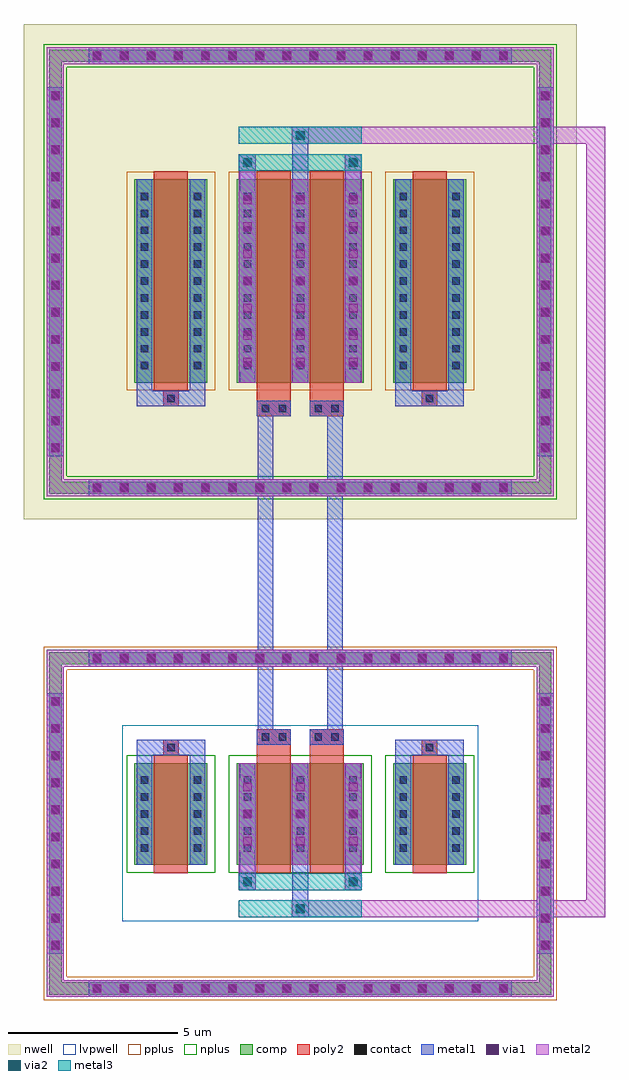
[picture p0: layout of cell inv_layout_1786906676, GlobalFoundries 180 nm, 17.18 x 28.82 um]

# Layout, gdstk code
from math import pi, radians
import gdstk
lib = gdstk.Library(unit=1e-6, precision=5e-09)
def R(c, l, rs):  # rectangles x0, y0, x1, y1
    for r in rs: c.add(gdstk.rectangle(r[:2], r[2:], *l))
def A(c, l, x, y, w, h, nx, ny, dx, dy):  # array of equal rectangles
    R(c, l, [(x+i*dx, y+j*dy, x+i*dx+w, y+j*dy+h) for i in range(nx) for j in range(ny)])
def P(c, l, *ps):  # polygons
    for p in ps: c.add(gdstk.Polygon(p, *l))
nwell = (21, 0)
comp = (22, 0)
poly2 = (30, 0)
pplus = (31, 0)
nplus = (32, 0)
contact = (33, 0)
metal1 = (34, 0)
via1 = (35, 0)
metal2 = (36, 0)
via2 = (38, 0)
metal3 = (42, 0)
lvpwell = (204, 0)

unnamed_a4aa46a9 = lib.new_cell('Unnamed_a4aa46a9')
R(unnamed_a4aa46a9, nwell, [(-2.96,-4.395,2.96,4.395)])
R(unnamed_a4aa46a9, comp, [(-2.61,-3.275,-0.45,2.725), (0.41,-3.275,2.61,2.725)])
R(unnamed_a4aa46a9, poly2, [(1.01,-4.275,2.01,-3.815), (1.08,-4.225,1.44,-3.865), (1.58,-4.225,1.94,-3.865), (-1.76,-3.975,-1.3,-3.515), (-1.71,-3.925,-1.35,-3.565), (1.01,-3.815,2.01,-3.515), (-2.03,-3.515,-1.03,2.965), (1.01,-3.515,2.01,2.965)])
R(unnamed_a4aa46a9, pplus, [(-2.84,-3.505,-0.22,2.955), (0.18,-3.505,2.84,2.955)])
A(unnamed_a4aa46a9, contact, -2.42, -2.885, 0.22, 0.22, 1, 11, 0, 0.5)
A(unnamed_a4aa46a9, contact, -0.86, -2.885, 0.22, 0.22, 1, 11, 0, 0.5)
A(unnamed_a4aa46a9, contact, 0.62, -2.885, 0.22, 0.22, 1, 11, 0, 0.5)
A(unnamed_a4aa46a9, contact, 2.18, -2.885, 0.22, 0.22, 1, 11, 0, 0.5)
R(unnamed_a4aa46a9, contact, [(1.15,-4.155,1.37,-3.935), (1.65,-4.155,1.87,-3.935), (-1.64,-3.855,-1.42,-3.635)])
A(unnamed_a4aa46a9, metal1, -2.54, -3.005, 0.46, 0.46, 1, 11, 0, 0.5)
A(unnamed_a4aa46a9, metal1, -0.98, -3.005, 0.46, 0.46, 1, 11, 0, 0.5)
A(unnamed_a4aa46a9, metal1, 0.5, -3.005, 0.46, 0.46, 1, 11, 0, 0.5)
A(unnamed_a4aa46a9, metal1, 2.06, -3.005, 0.46, 0.46, 1, 11, 0, 0.5)
A(unnamed_a4aa46a9, metal1, 0.48, -2.925, 0.5, 0.5, 1, 7, 0, 0.8)
A(unnamed_a4aa46a9, metal1, 2.04, -2.925, 0.5, 0.5, 1, 7, 0, 0.8)
R(unnamed_a4aa46a9, metal1, [(1.01,-4.275,2.01,-3.815), (1.03,-4.275,1.49,-3.815), (1.53,-4.275,1.99,-3.815), (-2.54,-3.975,-1.76,-3.515), (-2.54,-3.975,-2.08,-3.275), (-1.76,-3.975,-1.3,-3.515), (-1.3,-3.975,-0.52,-3.515), (-0.98,-3.975,-0.52,-3.275), (-2.54,-3.275,-2.08,2.725), (-0.98,-3.275,-0.52,2.725), (0.5,-3.275,0.96,2.725), (2.06,-3.275,2.52,2.725), (0.48,-2.925,0.98,2.375), (2.04,-2.925,2.54,2.375), (0.5,2.725,0.96,3.475), (2.06,2.725,2.52,4.275), (0.48,2.975,0.98,3.475), (2.04,3.775,2.54,4.275)])
A(unnamed_a4aa46a9, via1, 0.6, -2.805, 0.26, 0.26, 1, 7, 0, 0.8)
A(unnamed_a4aa46a9, via1, 2.16, -2.805, 0.26, 0.26, 1, 7, 0, 0.8)
R(unnamed_a4aa46a9, via1, [(0.6,3.095,0.86,3.355), (2.16,3.895,2.42,4.155)])
A(unnamed_a4aa46a9, metal2, 0.48, -2.925, 0.5, 0.5, 1, 7, 0, 0.8)
A(unnamed_a4aa46a9, metal2, 2.04, -2.925, 0.5, 0.5, 1, 7, 0, 0.8)
R(unnamed_a4aa46a9, metal2, [(0.48,-3.275,0.98,2.725), (2.04,-3.275,2.54,2.725), (0.48,2.975,0.98,3.475), (2.04,3.775,2.54,4.275)])
R(unnamed_a4aa46a9, via2, [(0.6,3.095,0.86,3.355), (2.16,3.895,2.42,4.155)])
R(unnamed_a4aa46a9, metal3, [(0.48,2.975,0.98,3.475), (0.48,2.975,2.54,3.475), (0.48,3.775,2.54,4.275), (2.04,3.775,2.54,4.275)])

unnamed_3eb443e8 = lib.new_cell('Unnamed_3eb443e8')
R(unnamed_3eb443e8, nwell, [(-2.96,-4.395,2.96,4.395)])
R(unnamed_3eb443e8, comp, [(-2.61,-3.275,-0.45,2.725), (0.41,-3.275,2.61,2.725)])
R(unnamed_3eb443e8, poly2, [(1.01,-4.275,2.01,-3.815), (1.08,-4.225,1.44,-3.865), (1.58,-4.225,1.94,-3.865), (-1.76,-3.975,-1.3,-3.515), (-1.71,-3.925,-1.35,-3.565), (1.01,-3.815,2.01,-3.515), (-2.03,-3.515,-1.03,2.965), (1.01,-3.515,2.01,2.965)])
R(unnamed_3eb443e8, pplus, [(-2.84,-3.505,-0.22,2.955), (0.18,-3.505,2.84,2.955)])
A(unnamed_3eb443e8, contact, -2.42, -2.885, 0.22, 0.22, 1, 11, 0, 0.5)
A(unnamed_3eb443e8, contact, -0.86, -2.885, 0.22, 0.22, 1, 11, 0, 0.5)
A(unnamed_3eb443e8, contact, 0.62, -2.885, 0.22, 0.22, 1, 11, 0, 0.5)
A(unnamed_3eb443e8, contact, 2.18, -2.885, 0.22, 0.22, 1, 11, 0, 0.5)
R(unnamed_3eb443e8, contact, [(1.15,-4.155,1.37,-3.935), (1.65,-4.155,1.87,-3.935), (-1.64,-3.855,-1.42,-3.635)])
A(unnamed_3eb443e8, metal1, -2.54, -3.005, 0.46, 0.46, 1, 11, 0, 0.5)
A(unnamed_3eb443e8, metal1, -0.98, -3.005, 0.46, 0.46, 1, 11, 0, 0.5)
A(unnamed_3eb443e8, metal1, 0.5, -3.005, 0.46, 0.46, 1, 11, 0, 0.5)
A(unnamed_3eb443e8, metal1, 2.06, -3.005, 0.46, 0.46, 1, 11, 0, 0.5)
A(unnamed_3eb443e8, metal1, 0.48, -2.925, 0.5, 0.5, 1, 7, 0, 0.8)
A(unnamed_3eb443e8, metal1, 2.04, -2.925, 0.5, 0.5, 1, 7, 0, 0.8)
R(unnamed_3eb443e8, metal1, [(1.01,-4.275,2.01,-3.815), (1.03,-4.275,1.49,-3.815), (1.53,-4.275,1.99,-3.815), (-2.54,-3.975,-1.76,-3.515), (-2.54,-3.975,-2.08,-3.275), (-1.76,-3.975,-1.3,-3.515), (-1.3,-3.975,-0.52,-3.515), (-0.98,-3.975,-0.52,-3.275), (-2.54,-3.275,-2.08,2.725), (-0.98,-3.275,-0.52,2.725), (0.5,-3.275,0.96,2.725), (2.06,-3.275,2.52,2.725), (0.48,-2.925,0.98,2.375), (2.04,-2.925,2.54,2.375), (0.5,2.725,0.96,3.475), (2.06,2.725,2.52,4.275), (0.48,2.975,0.98,3.475), (2.04,3.775,2.54,4.275)])
A(unnamed_3eb443e8, via1, 0.6, -2.805, 0.26, 0.26, 1, 7, 0, 0.8)
A(unnamed_3eb443e8, via1, 2.16, -2.805, 0.26, 0.26, 1, 7, 0, 0.8)
R(unnamed_3eb443e8, via1, [(0.6,3.095,0.86,3.355), (2.16,3.895,2.42,4.155)])
A(unnamed_3eb443e8, metal2, 0.48, -2.925, 0.5, 0.5, 1, 7, 0, 0.8)
A(unnamed_3eb443e8, metal2, 2.04, -2.925, 0.5, 0.5, 1, 7, 0, 0.8)
R(unnamed_3eb443e8, metal2, [(0.48,-3.275,0.98,2.725), (2.04,-3.275,2.54,2.725), (0.48,2.975,0.98,3.475), (2.04,3.775,2.54,4.275)])
R(unnamed_3eb443e8, via2, [(0.6,3.095,0.86,3.355), (2.16,3.895,2.42,4.155)])
R(unnamed_3eb443e8, metal3, [(0.48,2.975,0.98,3.475), (0.48,2.975,2.54,3.475), (0.48,3.775,2.54,4.275), (2.04,3.775,2.54,4.275)])

unnamed_30ae1e06 = lib.new_cell('Unnamed_30ae1e06')
R(unnamed_30ae1e06, comp, [(-2.61,-1.775,-0.45,1.225), (0.41,-1.775,2.61,1.225)])
R(unnamed_30ae1e06, poly2, [(1.01,-2.775,2.01,-2.315), (1.08,-2.725,1.44,-2.365), (1.58,-2.725,1.94,-2.365), (-1.76,-2.475,-1.3,-2.015), (-1.71,-2.425,-1.35,-2.065), (1.01,-2.315,2.01,-2.015), (-2.03,-2.015,-1.03,1.465), (1.01,-2.015,2.01,1.465)])
R(unnamed_30ae1e06, nplus, [(-2.84,-2.005,-0.22,1.455), (0.18,-2.005,2.84,1.455)])
A(unnamed_30ae1e06, contact, -2.42, -1.385, 0.22, 0.22, 1, 5, 0, 0.5)
A(unnamed_30ae1e06, contact, -0.86, -1.385, 0.22, 0.22, 1, 5, 0, 0.5)
A(unnamed_30ae1e06, contact, 0.62, -1.385, 0.22, 0.22, 1, 5, 0, 0.5)
A(unnamed_30ae1e06, contact, 2.18, -1.385, 0.22, 0.22, 1, 5, 0, 0.5)
R(unnamed_30ae1e06, contact, [(1.15,-2.655,1.37,-2.435), (1.65,-2.655,1.87,-2.435), (-1.64,-2.355,-1.42,-2.135)])
A(unnamed_30ae1e06, metal1, -2.54, -1.505, 0.46, 0.46, 1, 5, 0, 0.5)
A(unnamed_30ae1e06, metal1, -0.98, -1.505, 0.46, 0.46, 1, 5, 0, 0.5)
A(unnamed_30ae1e06, metal1, 0.5, -1.505, 0.46, 0.46, 1, 5, 0, 0.5)
A(unnamed_30ae1e06, metal1, 2.06, -1.505, 0.46, 0.46, 1, 5, 0, 0.5)
A(unnamed_30ae1e06, metal1, 0.48, -1.325, 0.5, 0.5, 1, 3, 0, 0.8)
A(unnamed_30ae1e06, metal1, 2.04, -1.325, 0.5, 0.5, 1, 3, 0, 0.8)
R(unnamed_30ae1e06, metal1, [(1.01,-2.775,2.01,-2.315), (1.03,-2.775,1.49,-2.315), (1.53,-2.775,1.99,-2.315), (-2.54,-2.475,-1.76,-2.015), (-2.54,-2.475,-2.08,-1.775), (-1.76,-2.475,-1.3,-2.015), (-1.3,-2.475,-0.52,-2.015), (-0.98,-2.475,-0.52,-1.775), (-2.54,-1.775,-2.08,1.225), (-0.98,-1.775,-0.52,1.225), (0.5,-1.775,0.96,1.225), (2.06,-1.775,2.52,1.225), (0.48,-1.325,0.98,0.775), (2.04,-1.325,2.54,0.775), (0.5,1.225,0.96,1.975), (2.06,1.225,2.52,2.775), (0.48,1.475,0.98,1.975), (2.04,2.275,2.54,2.775)])
A(unnamed_30ae1e06, via1, 0.6, -1.205, 0.26, 0.26, 1, 3, 0, 0.8)
A(unnamed_30ae1e06, via1, 2.16, -1.205, 0.26, 0.26, 1, 3, 0, 0.8)
R(unnamed_30ae1e06, via1, [(0.6,1.595,0.86,1.855), (2.16,2.395,2.42,2.655)])
A(unnamed_30ae1e06, metal2, 0.48, -1.325, 0.5, 0.5, 1, 3, 0, 0.8)
A(unnamed_30ae1e06, metal2, 2.04, -1.325, 0.5, 0.5, 1, 3, 0, 0.8)
R(unnamed_30ae1e06, metal2, [(0.48,-1.775,0.98,1.225), (2.04,-1.775,2.54,1.225), (0.48,1.475,0.98,1.975), (2.04,2.275,2.54,2.775)])
R(unnamed_30ae1e06, via2, [(0.6,1.595,0.86,1.855), (2.16,2.395,2.42,2.655)])
R(unnamed_30ae1e06, metal3, [(0.48,1.475,0.98,1.975), (0.48,1.475,2.54,1.975), (0.48,2.275,2.54,2.775), (2.04,2.275,2.54,2.775)])
R(unnamed_30ae1e06, lvpwell, [(-2.96,-2.895,2.96,2.895)])

unnamed_e84dc64a = lib.new_cell('Unnamed_e84dc64a')
R(unnamed_e84dc64a, comp, [(-2.61,-1.775,-0.45,1.225), (0.41,-1.775,2.61,1.225)])
R(unnamed_e84dc64a, poly2, [(1.01,-2.775,2.01,-2.315), (1.08,-2.725,1.44,-2.365), (1.58,-2.725,1.94,-2.365), (-1.76,-2.475,-1.3,-2.015), (-1.71,-2.425,-1.35,-2.065), (1.01,-2.315,2.01,-2.015), (-2.03,-2.015,-1.03,1.465), (1.01,-2.015,2.01,1.465)])
R(unnamed_e84dc64a, nplus, [(-2.84,-2.005,-0.22,1.455), (0.18,-2.005,2.84,1.455)])
A(unnamed_e84dc64a, contact, -2.42, -1.385, 0.22, 0.22, 1, 5, 0, 0.5)
A(unnamed_e84dc64a, contact, -0.86, -1.385, 0.22, 0.22, 1, 5, 0, 0.5)
A(unnamed_e84dc64a, contact, 0.62, -1.385, 0.22, 0.22, 1, 5, 0, 0.5)
A(unnamed_e84dc64a, contact, 2.18, -1.385, 0.22, 0.22, 1, 5, 0, 0.5)
R(unnamed_e84dc64a, contact, [(1.15,-2.655,1.37,-2.435), (1.65,-2.655,1.87,-2.435), (-1.64,-2.355,-1.42,-2.135)])
A(unnamed_e84dc64a, metal1, -2.54, -1.505, 0.46, 0.46, 1, 5, 0, 0.5)
A(unnamed_e84dc64a, metal1, -0.98, -1.505, 0.46, 0.46, 1, 5, 0, 0.5)
A(unnamed_e84dc64a, metal1, 0.5, -1.505, 0.46, 0.46, 1, 5, 0, 0.5)
A(unnamed_e84dc64a, metal1, 2.06, -1.505, 0.46, 0.46, 1, 5, 0, 0.5)
A(unnamed_e84dc64a, metal1, 0.48, -1.325, 0.5, 0.5, 1, 3, 0, 0.8)
A(unnamed_e84dc64a, metal1, 2.04, -1.325, 0.5, 0.5, 1, 3, 0, 0.8)
R(unnamed_e84dc64a, metal1, [(1.01,-2.775,2.01,-2.315), (1.03,-2.775,1.49,-2.315), (1.53,-2.775,1.99,-2.315), (-2.54,-2.475,-1.76,-2.015), (-2.54,-2.475,-2.08,-1.775), (-1.76,-2.475,-1.3,-2.015), (-1.3,-2.475,-0.52,-2.015), (-0.98,-2.475,-0.52,-1.775), (-2.54,-1.775,-2.08,1.225), (-0.98,-1.775,-0.52,1.225), (0.5,-1.775,0.96,1.225), (2.06,-1.775,2.52,1.225), (0.48,-1.325,0.98,0.775), (2.04,-1.325,2.54,0.775), (0.5,1.225,0.96,1.975), (2.06,1.225,2.52,2.775), (0.48,1.475,0.98,1.975), (2.04,2.275,2.54,2.775)])
A(unnamed_e84dc64a, via1, 0.6, -1.205, 0.26, 0.26, 1, 3, 0, 0.8)
A(unnamed_e84dc64a, via1, 2.16, -1.205, 0.26, 0.26, 1, 3, 0, 0.8)
R(unnamed_e84dc64a, via1, [(0.6,1.595,0.86,1.855), (2.16,2.395,2.42,2.655)])
A(unnamed_e84dc64a, metal2, 0.48, -1.325, 0.5, 0.5, 1, 3, 0, 0.8)
A(unnamed_e84dc64a, metal2, 2.04, -1.325, 0.5, 0.5, 1, 3, 0, 0.8)
R(unnamed_e84dc64a, metal2, [(0.48,-1.775,0.98,1.225), (2.04,-1.775,2.54,1.225), (0.48,1.475,0.98,1.975), (2.04,2.275,2.54,2.775)])
R(unnamed_e84dc64a, via2, [(0.6,1.595,0.86,1.855), (2.16,2.395,2.42,2.655)])
R(unnamed_e84dc64a, metal3, [(0.48,1.475,0.98,1.975), (0.48,1.475,2.54,1.975), (0.48,2.275,2.54,2.775), (2.04,2.275,2.54,2.775)])
R(unnamed_e84dc64a, lvpwell, [(-2.96,-2.895,2.96,2.895)])

unnamed_84d79f5a_1 = lib.new_cell('Unnamed_84d79f5a$1')
A(unnamed_84d79f5a_1, comp, -6.18, -6.555, 0.36, 0.36, 16, 2, 0.8, 12.75)
A(unnamed_84d79f5a_1, comp, -7.41, -5.38, 0.36, 0.36, 1, 14, 0, 0.8)
A(unnamed_84d79f5a_1, comp, 7.05, -5.38, 0.36, 0.36, 1, 14, 0, 0.8)
R(unnamed_84d79f5a_1, comp, [(-6.18,-6.555,6.18,-6.195), (-7.41,-5.38,-7.05,5.38), (7.05,-5.38,7.41,5.38), (-6.18,6.195,6.18,6.555)])
P(unnamed_84d79f5a_1, comp, [(-7.41,-6.555),(-7.41,-6.195),(-7.05,-6.195),(7.05,-6.195),(7.05,6.195),(-7.05,6.195),(-7.05,-6.195),(-7.41,-6.195),(-7.41,6.555),(7.41,6.555),(7.41,-6.555)])
P(unnamed_84d79f5a_1, nplus, [(-7.57,-6.715),(-7.57,-6.035),(-6.89,-6.035),(6.89,-6.035),(6.89,6.035),(-6.89,6.035),(-6.89,-6.035),(-7.57,-6.035),(-7.57,6.715),(7.57,6.715),(7.57,-6.715)])
A(unnamed_84d79f5a_1, contact, -6.11, -6.485, 0.22, 0.22, 16, 2, 0.8, 12.75)
A(unnamed_84d79f5a_1, contact, -7.34, -5.31, 0.22, 0.22, 1, 14, 0, 0.8)
A(unnamed_84d79f5a_1, contact, 7.12, -5.31, 0.22, 0.22, 1, 14, 0, 0.8)
A(unnamed_84d79f5a_1, metal1, -6.25, -6.625, 0.5, 0.5, 16, 2, 0.8, 12.75)
A(unnamed_84d79f5a_1, metal1, -7.48, -5.45, 0.5, 0.5, 1, 14, 0, 0.8)
A(unnamed_84d79f5a_1, metal1, 6.98, -5.45, 0.5, 0.5, 1, 14, 0, 0.8)
R(unnamed_84d79f5a_1, metal1, [(-6.25,-6.625,6.25,-6.125), (-7.48,-5.45,-6.98,5.45), (6.98,-5.45,7.48,5.45), (-6.25,6.125,6.25,6.625)])
A(unnamed_84d79f5a_1, via1, -6.13, -6.505, 0.26, 0.26, 16, 2, 0.8, 12.75)
A(unnamed_84d79f5a_1, via1, -7.36, -5.33, 0.26, 0.26, 1, 14, 0, 0.8)
A(unnamed_84d79f5a_1, via1, 7.1, -5.33, 0.26, 0.26, 1, 14, 0, 0.8)
A(unnamed_84d79f5a_1, metal2, -6.25, -6.625, 0.5, 0.5, 16, 2, 0.8, 12.75)
A(unnamed_84d79f5a_1, metal2, -7.48, -5.45, 0.5, 0.5, 1, 14, 0, 0.8)
A(unnamed_84d79f5a_1, metal2, 6.98, -5.45, 0.5, 0.5, 1, 14, 0, 0.8)
R(unnamed_84d79f5a_1, metal2, [(-7.48,-6.625,-7.05,-6.125), (-7.48,-6.625,-6.98,-6.195), (-7.05,-6.625,7.05,-6.125), (6.98,-6.625,7.48,-6.195), (7.05,-6.625,7.48,-6.125), (-7.48,-6.195,-6.98,6.195), (6.98,-6.195,7.48,6.195), (-7.48,6.125,-7.05,6.625), (-7.05,6.125,7.05,6.625), (7.05,6.125,7.48,6.625), (-7.48,6.195,-6.98,6.625), (6.98,6.195,7.48,6.625)])

unnamed_f7c8e7fc_1 = lib.new_cell('Unnamed_f7c8e7fc$1')
A(unnamed_f7c8e7fc_1, comp, -6.18, -5.055, 0.36, 0.36, 16, 2, 0.8, 9.75)
A(unnamed_f7c8e7fc_1, comp, -7.41, -3.78, 0.36, 0.36, 1, 10, 0, 0.8)
A(unnamed_f7c8e7fc_1, comp, 7.05, -3.78, 0.36, 0.36, 1, 10, 0, 0.8)
R(unnamed_f7c8e7fc_1, comp, [(-6.18,-5.055,6.18,-4.695), (-7.41,-3.78,-7.05,3.78), (7.05,-3.78,7.41,3.78), (-6.18,4.695,6.18,5.055)])
P(unnamed_f7c8e7fc_1, comp, [(-7.41,-5.055),(-7.41,-4.695),(-7.05,-4.695),(7.05,-4.695),(7.05,4.695),(-7.05,4.695),(-7.05,-4.695),(-7.41,-4.695),(-7.41,5.055),(7.41,5.055),(7.41,-5.055)])
P(unnamed_f7c8e7fc_1, pplus, [(-7.57,-5.215),(-7.57,-4.535),(-6.89,-4.535),(6.89,-4.535),(6.89,4.535),(-6.89,4.535),(-6.89,-4.535),(-7.57,-4.535),(-7.57,5.215),(7.57,5.215),(7.57,-5.215)])
A(unnamed_f7c8e7fc_1, contact, -6.11, -4.985, 0.22, 0.22, 16, 2, 0.8, 9.75)
A(unnamed_f7c8e7fc_1, contact, -7.34, -3.71, 0.22, 0.22, 1, 10, 0, 0.8)
A(unnamed_f7c8e7fc_1, contact, 7.12, -3.71, 0.22, 0.22, 1, 10, 0, 0.8)
A(unnamed_f7c8e7fc_1, metal1, -6.25, -5.125, 0.5, 0.5, 16, 2, 0.8, 9.75)
A(unnamed_f7c8e7fc_1, metal1, -7.48, -3.85, 0.5, 0.5, 1, 10, 0, 0.8)
A(unnamed_f7c8e7fc_1, metal1, 6.98, -3.85, 0.5, 0.5, 1, 10, 0, 0.8)
R(unnamed_f7c8e7fc_1, metal1, [(-6.25,-5.125,6.25,-4.625), (-7.48,-3.85,-6.98,3.85), (6.98,-3.85,7.48,3.85), (-6.25,4.625,6.25,5.125)])
A(unnamed_f7c8e7fc_1, via1, -6.13, -5.005, 0.26, 0.26, 16, 2, 0.8, 9.75)
A(unnamed_f7c8e7fc_1, via1, -7.36, -3.73, 0.26, 0.26, 1, 10, 0, 0.8)
A(unnamed_f7c8e7fc_1, via1, 7.1, -3.73, 0.26, 0.26, 1, 10, 0, 0.8)
A(unnamed_f7c8e7fc_1, metal2, -6.25, -5.125, 0.5, 0.5, 16, 2, 0.8, 9.75)
A(unnamed_f7c8e7fc_1, metal2, -7.48, -3.85, 0.5, 0.5, 1, 10, 0, 0.8)
A(unnamed_f7c8e7fc_1, metal2, 6.98, -3.85, 0.5, 0.5, 1, 10, 0, 0.8)
R(unnamed_f7c8e7fc_1, metal2, [(-7.48,-5.125,-7.05,-4.625), (-7.48,-5.125,-6.98,-4.695), (-7.05,-5.125,7.05,-4.625), (6.98,-5.125,7.48,-4.695), (7.05,-5.125,7.48,-4.625), (-7.48,-4.695,-6.98,4.695), (6.98,-4.695,7.48,4.695), (-7.48,4.625,-7.05,5.125), (-7.05,4.625,7.05,5.125), (7.05,4.625,7.48,5.125), (-7.48,4.695,-6.98,5.125), (6.98,4.695,7.48,5.125)])

straight_route_20ce7beb = lib.new_cell('straight_route_20ce7beb')
R(straight_route_20ce7beb, metal1, [(1.03,-13.515,1.49,-4.275)])

straight_route_a7420610 = lib.new_cell('straight_route_a7420610')
R(straight_route_a7420610, metal1, [(3.09,-13.515,3.55,-4.275)])

straight_route_8b1c8937 = lib.new_cell('straight_route_8b1c8937')
P(straight_route_8b1c8937, metal1, [(1.03,-4.275),(1.03,-4.275),(1.49,-4.275),(1.49,-4.275)])

c_route_8731c8cf = lib.new_cell('c_route_8731c8cf')
R(c_route_8731c8cf, metal2, [(2.54,-19.065,11.3,-18.565), (10.74,-19.065,11.3,-18.505), (10.74,-19.065,11.3,4.275), (10.74,3.715,11.3,4.275), (2.54,3.775,11.3,4.275)])
P(c_route_8731c8cf, metal2, [(11.3,-19.065),(11.3,-18.505),(11.3,-18.505),(11.3,-19.065)],
  [(11.3,3.715),(11.3,4.275),(11.3,4.275),(11.3,3.715)])

inv_layout_1786906676 = lib.new_cell('inv_layout_1786906676')
R(inv_layout_1786906676, nwell, [(-5.88,-7.315,10.46,7.315)])
R(inv_layout_1786906676, metal2, [(0.48,-18.265,0.98,-14.515), (3.6,-18.265,4.1,-14.515), (0.48,-3.275,0.98,3.475), (3.6,-3.275,4.1,3.475)])
inv_layout_1786906676.add(gdstk.Reference(unnamed_a4aa46a9, (0,0)))
inv_layout_1786906676.add(gdstk.Reference(unnamed_3eb443e8, (4.58,0), rotation=pi, x_reflection=True))
inv_layout_1786906676.add(gdstk.Reference(unnamed_30ae1e06, (0,-16.29), x_reflection=True))
inv_layout_1786906676.add(gdstk.Reference(unnamed_e84dc64a, (4.58,-16.29), rotation=pi))
inv_layout_1786906676.add(gdstk.Reference(unnamed_84d79f5a_1, (2.29,0)))
inv_layout_1786906676.add(gdstk.Reference(unnamed_f7c8e7fc_1, (2.29,-16.29)))
inv_layout_1786906676.add(gdstk.Reference(straight_route_20ce7beb, (0,0)))
inv_layout_1786906676.add(gdstk.Reference(straight_route_a7420610, (0,0)))
inv_layout_1786906676.add(gdstk.Reference(straight_route_8b1c8937, (0,0)))
inv_layout_1786906676.add(gdstk.Reference(c_route_8731c8cf, (0,0)))

lib.write_gds('inv_layout_1786906676.gds')
